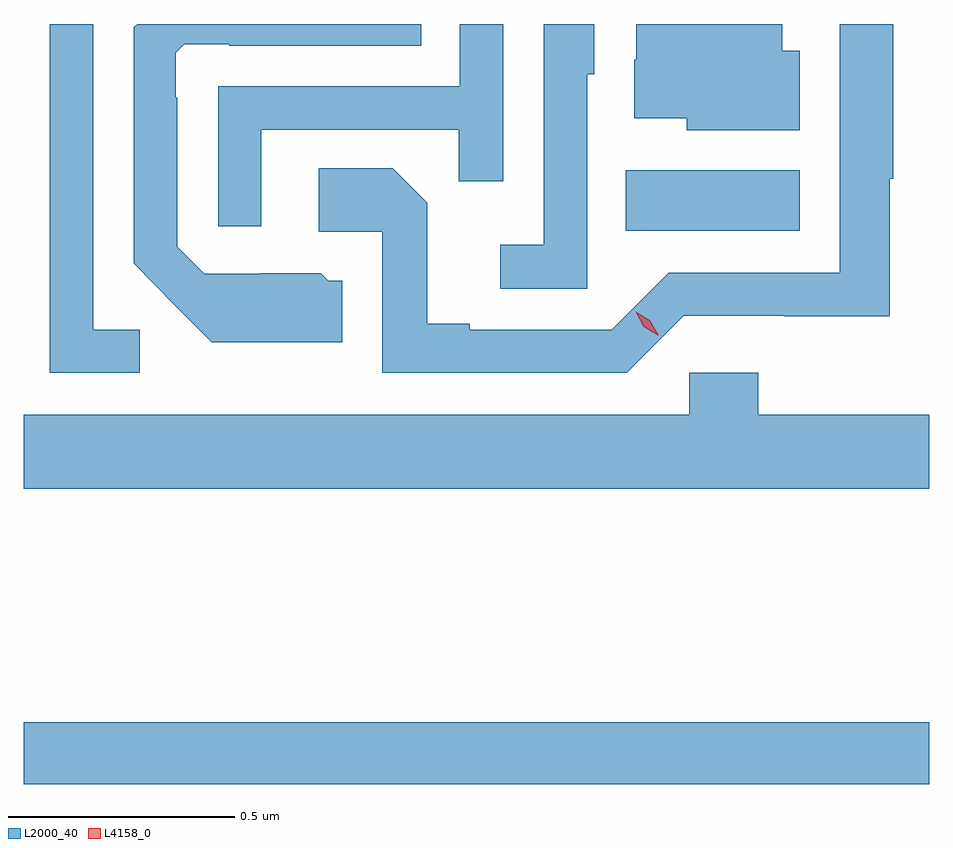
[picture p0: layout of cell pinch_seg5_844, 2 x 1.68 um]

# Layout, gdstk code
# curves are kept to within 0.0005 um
import gdstk
lib = gdstk.Library(unit=1e-6, precision=1e-09)
def R(c, l, rs):  # rectangles x0, y0, x1, y1
    for r in rs: c.add(gdstk.rectangle(r[:2], r[2:], *l))
def P(c, l, *ps):  # polygons
    for p in ps: c.add(gdstk.Polygon(p, *l))
L2000_40 = (2000, 40)
L4158_0 = (4158, 0)

pinch_seg5_844 = lib.new_cell('pinch_seg5_844')
R(pinch_seg5_844, L2000_40, [(766.962,874.756,768.962,874.892), (768.292,875.978,768.676,876.112)])
P(pinch_seg5_844, L2000_40, [(768.207,876.324),(768.222,876.324),(768.222,876.435),(768.111,876.435),(768.111,875.947),(768.015,875.947),(768.015,875.85),(768.207,875.85)],
  [(767.487,876.201),(767.923,876.201),(767.923,876.088),(768.021,876.088),(768.021,876.435),(767.925,876.435),(767.925,876.297),(767.391,876.297),(767.391,875.988),(767.487,875.988)],
  [(768.676,876.376),(768.637,876.376),(768.637,876.435),(768.315,876.435),(768.315,876.356),(768.311,876.356),(768.311,876.227),(768.426,876.227),(768.426,876.2),(768.676,876.2)],
  [(767.218,875.76),(767.115,875.76),(767.115,876.435),(767.019,876.435),(767.019,875.664),(767.218,875.664)],
  [(768.42,875.79),(768.642,875.79),(768.642,875.789),(768.875,875.789),(768.875,876.093),(768.883,876.093),(768.883,876.435),(768.764,876.435),(768.764,875.886),(768.387,875.886),(768.261,875.76),(767.947,875.76),(767.947,875.773),(767.853,875.773),(767.853,876.04),(767.777,876.116),(767.613,876.116),(767.613,875.976),(767.754,875.976),(767.754,875.664),(768.294,875.664)],
  [(767.665,875.868),(767.634,875.868),(767.618,875.884),(767.484,875.884),(767.484,875.883),(767.361,875.883),(767.301,875.943),(767.301,876.272),(767.298,876.272),(767.298,876.372),(767.316,876.39),(767.416,876.39),(767.416,876.387),(767.84,876.387),(767.84,876.435),(767.212,876.435),(767.205,876.428),(767.205,875.906),(767.377,875.732),(767.665,875.732)],
  [(768.962,875.572),(768.584,875.572),(768.584,875.665),(768.432,875.665),(768.432,875.572),(766.962,875.572),(766.962,875.408),(768.962,875.408)])
P(pinch_seg5_844, L4158_0, [(768.362,875.747),(768.331,875.766),(768.314,875.799),(768.314,875.799),(768.314,875.799),(768.345,875.78),(768.363,875.748),(768.363,875.747)])

lib.write_gds('pinch_seg5_844.gds')
